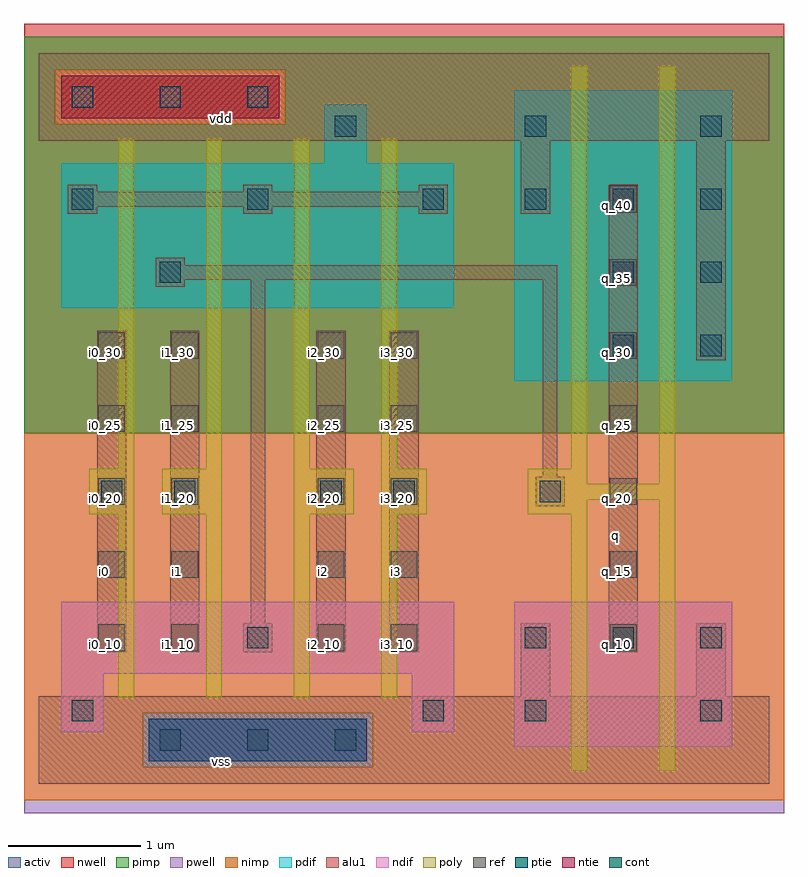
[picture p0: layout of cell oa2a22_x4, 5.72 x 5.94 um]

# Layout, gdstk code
import gdstk
lib = gdstk.Library(unit=1e-6, precision=2.5e-09)
def R(c, l, rs):  # rectangles x0, y0, x1, y1
    for r in rs: c.add(gdstk.rectangle(r[:2], r[2:], *l))
def A(c, l, x, y, w, h, nx, ny, dx, dy):  # array of equal rectangles
    R(c, l, [(x+i*dx, y+j*dy, x+i*dx+w, y+j*dy+h) for i in range(nx) for j in range(ny)])
ndif = (3, 0)
pdif = (4, 0)
ntie = (5, 0)
ptie = (6, 0)
ref = (24, 0)
cont = (25, 0)
pwell = (41, 0)
nwell = (42, 0)
activ = (43, 0)
pimp = (44, 0)
nimp = (45, 0)
poly = (46, 0)
alu1 = (49, 0)

oa2a22_x4 = lib.new_cell('oa2a22_x4')
R(oa2a22_x4, ndif, [(3.58,0.28,5.22,1.37), (3.58,0.28,5.22,1.37), (0.17,0.39,0.49,0.83), (0.17,0.39,0.49,0.83), (2.81,0.39,3.13,0.83), (2.81,0.39,3.13,0.83), (0.17,0.83,3.13,1.37), (0.17,0.83,3.13,1.37)])
R(oa2a22_x4, pdif, [(3.58,3.03,5.22,5.22), (3.58,3.03,5.22,5.22), (0.17,3.58,3.13,4.67), (0.17,3.58,3.13,4.67), (2.15,4.67,2.47,5.11), (2.15,4.67,2.47,5.11)])
R(oa2a22_x4, ntie, [(0.17,5.01,1.81,5.33), (0.17,5.01,1.81,5.33)])
R(oa2a22_x4, ptie, [(0.83,0.17,2.47,0.49), (0.83,0.17,2.47,0.49)])
A(oa2a22_x4, ref, 0.45, 1, 0.2, 0.2, 1, 5, 0, 0.55)
A(oa2a22_x4, ref, 1, 1, 0.2, 0.2, 1, 5, 0, 0.55)
A(oa2a22_x4, ref, 2.1, 1, 0.2, 0.2, 1, 5, 0, 0.55)
A(oa2a22_x4, ref, 2.65, 1, 0.2, 0.2, 1, 5, 0, 0.55)
A(oa2a22_x4, ref, 4.3, 1, 0.2, 0.2, 1, 7, 0, 0.55)
A(oa2a22_x4, cont, 0.91, 0.25, 0.16, 0.16, 3, 1, 0.66, 0)
A(oa2a22_x4, cont, 3.66, 1.02, 0.16, 0.16, 3, 2, 0.66, 3.3)
A(oa2a22_x4, cont, 0.25, 4.32, 0.16, 0.16, 3, 1, 1.32, 0)
A(oa2a22_x4, cont, 0.25, 5.09, 0.16, 0.16, 3, 1, 0.66, 0)
R(oa2a22_x4, cont, [(0.25,0.47,0.41,0.63), (2.89,0.47,3.05,0.63), (3.66,0.47,3.82,0.63), (4.98,0.47,5.14,0.63), (1.57,1.02,1.73,1.18), (0.47,2.12,0.63,2.28), (1.02,2.12,1.18,2.28), (2.12,2.12,2.28,2.28), (2.67,2.12,2.83,2.28), (3.77,2.12,3.93,2.28), (4.32,3.22,4.48,3.38), (4.98,3.22,5.14,3.38), (0.91,3.77,1.07,3.93), (4.32,3.77,4.48,3.93), (4.98,3.77,5.14,3.93), (2.23,4.87,2.39,5.03), (3.66,4.87,3.82,5.03), (4.98,4.87,5.14,5.03)])
R(oa2a22_x4, pwell, [(-0.11,-0.22,5.61,2.64)])
R(oa2a22_x4, nwell, [(-0.11,2.64,5.61,5.72)])
R(oa2a22_x4, activ, [(0.83,0.17,2.47,0.49), (0.83,0.17,2.47,0.49), (3.58,0.28,5.22,1.37), (3.58,0.28,5.22,1.37), (0.17,0.39,0.49,0.83), (0.17,0.39,0.49,0.83), (2.81,0.39,3.13,0.83), (2.81,0.39,3.13,0.83), (0.17,0.83,3.13,1.37), (0.17,0.83,3.13,1.37), (3.58,3.03,5.22,5.22), (3.58,3.03,5.22,5.22), (0.17,3.58,3.13,4.67), (0.17,3.58,3.13,4.67), (2.15,4.67,2.47,5.11), (2.15,4.67,2.47,5.11), (0.17,5.01,1.81,5.33), (0.17,5.01,1.81,5.33)])
R(oa2a22_x4, pimp, [(0.785,0.125,2.515,0.535), (-0.11,2.64,5.61,4.965), (-0.11,4.965,0.125,5.375), (1.855,4.965,5.61,5.375), (-0.11,5.375,5.61,5.625)])
R(oa2a22_x4, nimp, [(-0.11,-0.125,5.61,0.125), (-0.11,0.125,0.785,0.535), (2.515,0.125,5.61,0.535), (-0.11,0.535,5.61,2.64), (0.125,4.965,1.855,5.375)])
A(oa2a22_x4, poly, 0.6, 0.65, 0.12, 1.38, 4, 1, 0.66, 0)
A(oa2a22_x4, poly, 0.6, 2.37, 0.12, 2.48, 4, 1, 0.66, 0)
R(oa2a22_x4, poly, [(4.01,0.1,4.13,2.03), (4.67,0.1,4.79,2.14), (0.38,2.03,0.72,2.37), (0.93,2.03,1.38,2.37), (1.92,2.03,2.37,2.37), (2.58,2.03,2.92,2.37), (3.68,2.03,4.13,2.14), (3.68,2.14,4.79,2.26), (3.68,2.26,4.13,2.37), (4.67,2.26,4.79,5.4), (4.01,2.37,4.13,5.4)])
A(oa2a22_x4, alu1, 0.22, 4.29, 0.22, 0.055, 3, 2, 1.32, 0.165)
R(oa2a22_x4, alu1, [(0,0,5.5,0.66), (3.63,0.66,3.85,1.21), (4.95,0.66,5.17,1.21), (0.44,0.99,0.66,3.41), (0.99,0.99,1.21,3.41), (1.54,0.99,1.76,1.21), (2.09,0.99,2.31,3.41), (2.64,0.99,2.86,3.41), (4.29,0.99,4.51,4.51), (1.595,1.21,1.705,3.795), (3.74,2.09,3.96,2.31), (3.795,2.31,3.905,3.795), (4.95,3.19,5.17,4.84), (0.88,3.74,1.1,3.795), (0.88,3.795,3.905,3.905), (0.88,3.905,1.1,3.96), (3.63,4.29,3.85,4.84), (0.22,4.345,3.08,4.455), (0,4.84,5.5,5.5)])
oa2a22_x4.add(gdstk.Label('vss', (1.375,0.165), layer=49, texttype=0))
oa2a22_x4.add(gdstk.Label('q', (4.345,1.87), layer=49, texttype=0))
oa2a22_x4.add(gdstk.Label('i3', (2.695,1.595), layer=49, texttype=0))
oa2a22_x4.add(gdstk.Label('i2', (2.145,1.595), layer=49, texttype=0))
oa2a22_x4.add(gdstk.Label('i1', (1.045,1.595), layer=49, texttype=0))
oa2a22_x4.add(gdstk.Label('i0', (0.495,1.595), layer=49, texttype=0))
oa2a22_x4.add(gdstk.Label('vdd', (1.375,5.005), layer=49, texttype=0))
oa2a22_x4.add(gdstk.Label('i3_10', (2.7,1.05), layer=24, texttype=0))
oa2a22_x4.add(gdstk.Label('i3_15', (2.7,1.6), layer=24, texttype=0))
oa2a22_x4.add(gdstk.Label('i3_20', (2.7,2.15), layer=24, texttype=0))
oa2a22_x4.add(gdstk.Label('i3_25', (2.7,2.7), layer=24, texttype=0))
oa2a22_x4.add(gdstk.Label('i3_30', (2.7,3.25), layer=24, texttype=0))
oa2a22_x4.add(gdstk.Label('i2_30', (2.15,3.25), layer=24, texttype=0))
oa2a22_x4.add(gdstk.Label('i2_25', (2.15,2.7), layer=24, texttype=0))
oa2a22_x4.add(gdstk.Label('i2_20', (2.15,2.15), layer=24, texttype=0))
oa2a22_x4.add(gdstk.Label('i2_15', (2.15,1.6), layer=24, texttype=0))
oa2a22_x4.add(gdstk.Label('i2_10', (2.15,1.05), layer=24, texttype=0))
oa2a22_x4.add(gdstk.Label('i1_10', (1.05,1.05), layer=24, texttype=0))
oa2a22_x4.add(gdstk.Label('i1_15', (1.05,1.6), layer=24, texttype=0))
oa2a22_x4.add(gdstk.Label('i1_20', (1.05,2.15), layer=24, texttype=0))
oa2a22_x4.add(gdstk.Label('i1_25', (1.05,2.7), layer=24, texttype=0))
oa2a22_x4.add(gdstk.Label('i1_30', (1.05,3.25), layer=24, texttype=0))
oa2a22_x4.add(gdstk.Label('i0_30', (0.5,3.25), layer=24, texttype=0))
oa2a22_x4.add(gdstk.Label('i0_25', (0.5,2.7), layer=24, texttype=0))
oa2a22_x4.add(gdstk.Label('i0_20', (0.5,2.15), layer=24, texttype=0))
oa2a22_x4.add(gdstk.Label('i0_15', (0.5,1.6), layer=24, texttype=0))
oa2a22_x4.add(gdstk.Label('i0_10', (0.5,1.05), layer=24, texttype=0))
oa2a22_x4.add(gdstk.Label('q_40', (4.35,4.35), layer=24, texttype=0))
oa2a22_x4.add(gdstk.Label('q_35', (4.35,3.8), layer=24, texttype=0))
oa2a22_x4.add(gdstk.Label('q_30', (4.35,3.25), layer=24, texttype=0))
oa2a22_x4.add(gdstk.Label('q_20', (4.35,2.15), layer=24, texttype=0))
oa2a22_x4.add(gdstk.Label('q_10', (4.35,1.05), layer=24, texttype=0))
oa2a22_x4.add(gdstk.Label('q_15', (4.35,1.6), layer=24, texttype=0))
oa2a22_x4.add(gdstk.Label('q_25', (4.35,2.7), layer=24, texttype=0))

lib.write_gds('oa2a22_x4.gds')
